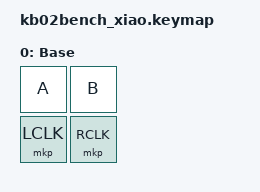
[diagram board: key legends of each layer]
/*
 * kb02bench_xiao keymap — 2×2 仮マトリクス
 *   (0,0)=A  (0,1)=B
 *   (1,0)=左クリック  (1,1)=右クリック
 */
#include <behaviors.dtsi>
#include <dt-bindings/zmk/keys.h>
#include <dt-bindings/zmk/bt.h>

// TP なしでビルドしたいときはこの define をコメントアウト
#define HAS_MOUSE_TP
#include "include/mouse_tp.dtsi"

#ifdef HAS_MOUSE_TP
  #define U_LCLK &mkp LCLK
  #define U_RCLK &mkp RCLK
#else
  #define U_LCLK &kp C
  #define U_RCLK &kp D
#endif

/ {
    keymap {
        compatible = "zmk,keymap";

        base {
            display-name = "Base";
            bindings = <
                &kp A   &kp B
                U_LCLK  U_RCLK
            >;
        };
    };
};
